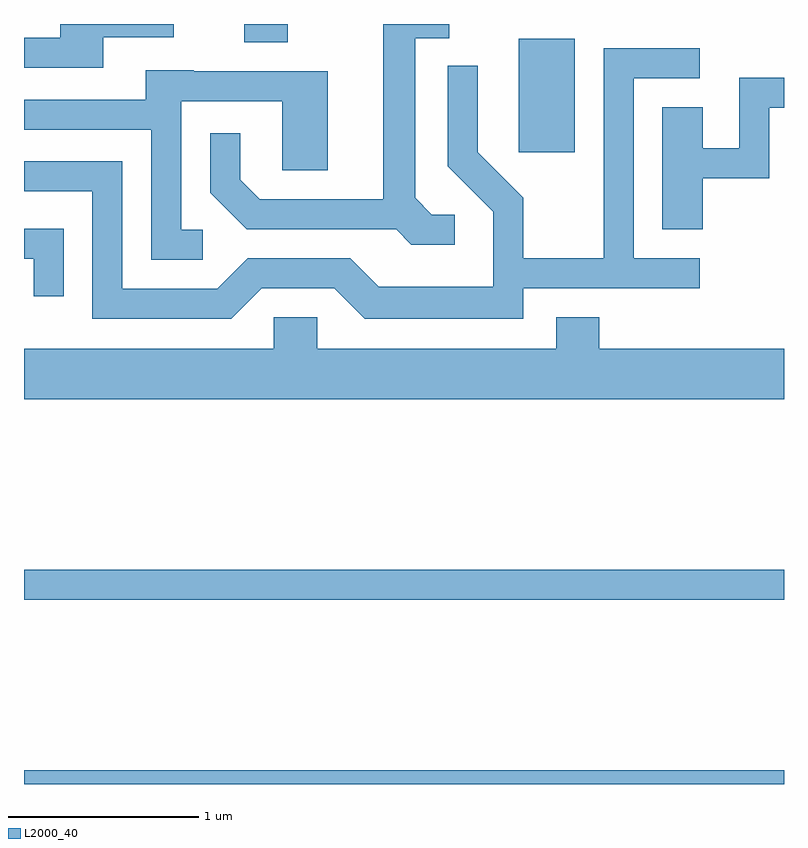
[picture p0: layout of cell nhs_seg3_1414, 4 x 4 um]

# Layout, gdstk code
import gdstk
lib = gdstk.Library(unit=1e-6, precision=1e-09)
def R(c, l, rs):  # rectangles x0, y0, x1, y1
    for r in rs: c.add(gdstk.rectangle(r[:2], r[2:], *l))
def P(c, l, *ps):  # polygons
    for p in ps: c.add(gdstk.Polygon(p, *l))
L2000_40 = (2000, 40)

nhs_seg3_1414 = lib.new_cell('nhs_seg3_1414')
R(nhs_seg3_1414, L2000_40, [(225.611,1223.892,229.611,1223.964), (225.611,1224.861,229.611,1225.019), (228.216,1227.216,228.509,1227.814), (226.771,1227.796,226.999,1227.892)])
P(nhs_seg3_1414, L2000_40, [(226.029,1227.821),(226.398,1227.821),(226.398,1227.892),(225.801,1227.892),(225.801,1227.819),(225.611,1227.819),(225.611,1227.661),(226.029,1227.661)],
  [(227.878,1226.889),(227.757,1226.889),(227.669,1226.977),(227.669,1227.816),(227.848,1227.816),(227.848,1227.892),(227.501,1227.892),(227.501,1226.969),(226.852,1226.969),(226.749,1227.072),(226.749,1227.318),(226.591,1227.318),(226.591,1227.004),(226.784,1226.811),(227.569,1226.811),(227.649,1226.731),(227.878,1226.731)],
  [(226.862,1226.501),(227.244,1226.501),(227.404,1226.341),(228.239,1226.341),(228.239,1226.501),(229.168,1226.501),(229.168,1226.659),(228.819,1226.659),(228.819,1227.606),(229.168,1227.606),(229.168,1227.764),(228.661,1227.764),(228.661,1226.659),(228.239,1226.659),(228.239,1226.977),(227.999,1227.217),(227.999,1227.673),(227.841,1227.673),(227.841,1227.144),(228.081,1226.904),(228.081,1226.509),(227.477,1226.509),(227.327,1226.659),(226.789,1226.659),(226.629,1226.499),(226.129,1226.499),(226.129,1227.169),(225.611,1227.169),(225.611,1227.011),(225.971,1227.011),(225.971,1226.341),(226.702,1226.341)],
  [(226.553,1226.809),(226.439,1226.809),(226.439,1227.486),(226.971,1227.486),(226.971,1227.121),(227.209,1227.121),(227.209,1227.644),(226.505,1227.644),(226.505,1227.649),(226.251,1227.649),(226.251,1227.494),(225.611,1227.494),(225.611,1227.336),(226.281,1227.336),(226.281,1226.651),(226.553,1226.651)],
  [(229.184,1227.081),(229.534,1227.081),(229.534,1227.451),(229.611,1227.451),(229.611,1227.609),(229.376,1227.609),(229.376,1227.239),(229.184,1227.239),(229.184,1227.454),(228.971,1227.454),(228.971,1226.811),(229.184,1226.811)],
  [(225.819,1226.814),(225.611,1226.814),(225.611,1226.656),(225.661,1226.656),(225.661,1226.458),(225.819,1226.458)],
  [(229.611,1226.184),(228.639,1226.184),(228.639,1226.349),(228.411,1226.349),(228.411,1226.184),(227.154,1226.184),(227.154,1226.349),(226.926,1226.349),(226.926,1226.184),(225.611,1226.184),(225.611,1225.916),(229.611,1225.916)])

lib.write_gds('nhs_seg3_1414.gds')
